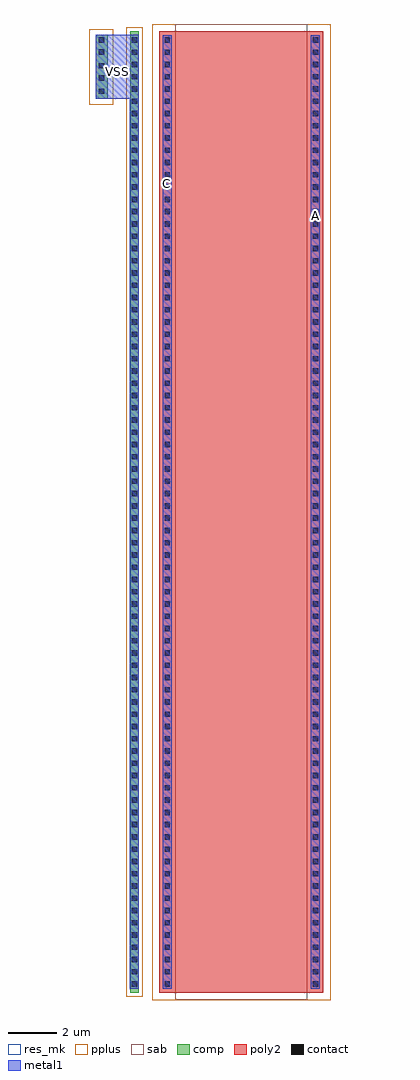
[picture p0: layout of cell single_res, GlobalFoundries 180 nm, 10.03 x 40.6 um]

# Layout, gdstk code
import gdstk
lib = gdstk.Library(unit=1e-6, precision=1e-09)
def R(c, l, rs):  # rectangles x0, y0, x1, y1
    for r in rs: c.add(gdstk.rectangle(r[:2], r[2:], *l))
def A(c, l, x, y, w, h, nx, ny, dx, dy):  # array of equal rectangles
    R(c, l, [(x+i*dx, y+j*dy, x+i*dx+w, y+j*dy+h) for i in range(nx) for j in range(ny)])
comp = (22, 0)
poly2 = (30, 0)
pplus = (31, 0)
contact = (33, 0)
metal1 = (34, 0)
sab = (49, 0)
res_mk = (110, 5)

ppolyf_u_resistor_1 = lib.new_cell('ppolyf_u_resistor$1')
R(ppolyf_u_resistor_1, comp, [(-1.88,0,-1.52,40)])
R(ppolyf_u_resistor_1, poly2, [(-0.66,0,6.16,40)])
R(ppolyf_u_resistor_1, pplus, [(-0.96,-0.3,6.46,40.3), (-2.04,-0.16,-1.36,40.16)])
A(ppolyf_u_resistor_1, contact, -1.81, 0.255, 0.22, 0.22, 1, 78, 0, 0.51)
A(ppolyf_u_resistor_1, contact, -0.44, 0.255, 0.22, 0.22, 1, 78, 0, 0.51)
A(ppolyf_u_resistor_1, contact, 5.72, 0.255, 0.22, 0.22, 1, 78, 0, 0.51)
R(ppolyf_u_resistor_1, metal1, [(-1.89,0.175,-1.51,39.825), (-0.52,0.175,-0.14,39.825), (5.64,0.175,6.02,39.825)])
R(ppolyf_u_resistor_1, sab, [(0,-0.28,5.5,40.28)])
R(ppolyf_u_resistor_1, res_mk, [(0,0,5.5,40)])

single_res = lib.new_cell('single_res')
R(single_res, pplus, [(-3.735,36.915,-2.75,40.06)])
R(single_res, contact, [(-3.34,37.37,-3.12,37.59), (-3.34,37.92,-3.12,38.14), (-3.34,38.43,-3.12,38.65), (-3.34,39.005,-3.12,39.225), (-3.34,39.51,-3.12,39.73)])
R(single_res, metal1, [(-3.48,37.165,-1.675,39.83)])
single_res.add(gdstk.FlexPath([(-3.23,39.83),(-3.23,37.165)], 0.5, ends="flush", simple_path=True, layer=22, datatype=0))  # comp
single_res.add(gdstk.Reference(ppolyf_u_resistor_1, (-0.165,-0.02)))
single_res.add(gdstk.Label('VSS', (-2.575,38.32), layer=34, texttype=10))
single_res.add(gdstk.Label('A', (5.665,32.315), layer=34, texttype=10))
single_res.add(gdstk.Label('C', (-0.54,33.64), layer=34, texttype=10))

lib.write_gds('single_res.gds')
